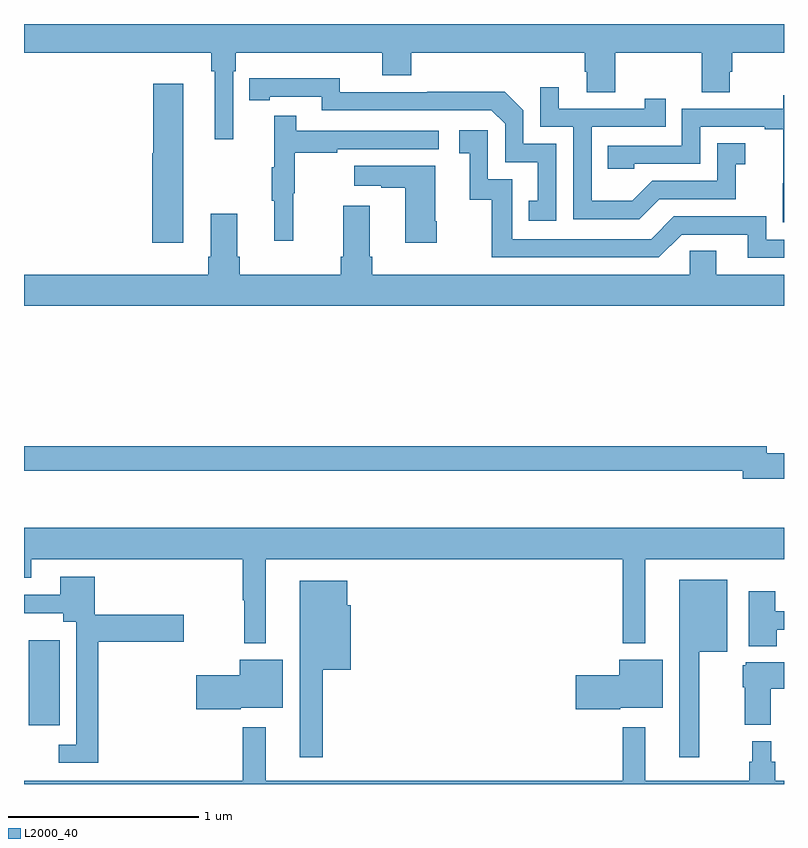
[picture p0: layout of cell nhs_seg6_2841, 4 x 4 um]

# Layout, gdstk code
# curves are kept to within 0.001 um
import gdstk
lib = gdstk.Library(unit=1e-6, precision=1e-09)
def R(c, l, rs):  # rectangles x0, y0, x1, y1
    for r in rs: c.add(gdstk.rectangle(r[:2], r[2:], *l))
def P(c, l, *ps):  # polygons
    for p in ps: c.add(gdstk.Polygon(p, *l))
L2000_40 = (2000, 40)

nhs_seg6_2841 = lib.new_cell('nhs_seg6_2841')
R(nhs_seg6_2841, L2000_40, [(279.026,931.809,279.187,932.257)])
P(nhs_seg6_2841, L2000_40, [(279,935.348),(279.985,935.348),(279.985,935.252),(280.004,935.252),(280.004,934.893),(280.101,934.893),(280.101,935.252),(280.115,935.252),(280.115,935.348),(280.886,935.348),(280.886,935.231),(281.039,935.231),(281.039,935.348),(281.951,935.348),(281.951,935.25),(281.963,935.25),(281.963,935.14),(282.111,935.14),(282.111,935.348),(282.568,935.348),(282.568,935.14),(282.715,935.14),(282.715,935.25),(282.728,935.25),(282.728,935.348),(283,935.348),(283,935.5),(279,935.5)],
  [(281.802,934.869),(281.628,934.869),(281.628,935.046),(281.53,935.144),(281.122,935.144),(281.122,935.142),(280.662,935.142),(280.662,935.215),(280.186,935.214),(280.186,935.098),(280.294,935.098),(280.294,935.118),(280.566,935.118),(280.566,935.046),(281.46,935.046),(281.532,934.974),(281.532,934.773),(281.705,934.773),(281.705,934.569),(281.656,934.569),(281.656,934.464),(281.802,934.464)],
  [(279.838,935.185),(279.68,935.185),(279.68,934.821),(279.674,934.821),(279.674,934.35),(279.838,934.35)],
  [(282.343,934.578),(282.747,934.578),(282.747,934.763),(282.796,934.763),(282.796,934.873),(282.648,934.873),(282.648,934.674),(282.306,934.674),(282.202,934.57),(281.988,934.57),(281.988,934.959),(282.377,934.959),(282.377,935.107),(282.266,935.107),(282.266,935.055),(281.815,935.055),(281.815,935.167),(281.718,935.167),(281.718,934.959),(281.892,934.959),(281.892,934.473),(282.238,934.473)],
  [(283,935.124),(282.996,935.124),(282.996,935.055),(282.462,935.055),(282.462,934.86),(282.073,934.86),(282.073,934.737),(282.213,934.737),(282.213,934.764),(282.558,934.764),(282.558,934.959),(282.899,934.959),(282.899,934.947),(282.995,934.947),(282.995,934.663),(282.994,934.663),(282.994,934.457),(283,934.457)],
  [(280.418,934.608),(280.426,934.608),(280.426,934.822),(280.649,934.822),(280.649,934.842),(281.182,934.842),(281.182,934.938),(280.433,934.938),(280.433,935.017),(280.316,935.017),(280.316,934.745),(280.305,934.745),(280.305,934.571),(280.316,934.571),(280.316,934.359),(280.418,934.359)],
  [(283,934.365),(282.906,934.365),(282.906,934.488),(282.42,934.488),(282.3,934.368),(281.571,934.368),(281.571,934.683),(281.442,934.683),(281.442,934.942),(281.292,934.942),(281.292,934.821),(281.345,934.821),(281.345,934.575),(281.463,934.575),(281.463,934.272),(282.342,934.272),(282.462,934.392),(282.809,934.392),(282.809,934.269),(283,934.269)],
  [(281.172,934.462),(281.164,934.462),(281.164,934.753),(280.737,934.753),(280.737,934.649),(280.88,934.649),(280.88,934.639),(281.006,934.639),(281.006,934.35),(281.172,934.35)],
  [(283,934.18),(282.643,934.18),(282.643,934.307),(282.504,934.307),(282.504,934.18),(280.832,934.18),(280.832,934.276),(280.819,934.276),(280.819,934.543),(280.679,934.543),(280.679,934.276),(280.667,934.276),(280.667,934.18),(280.136,934.18),(280.136,934.276),(280.123,934.276),(280.123,934.501),(279.983,934.501),(279.983,934.276),(279.971,934.276),(279.971,934.18),(279,934.18),(279,934.016),(283,934.016)],
  [(283,933.242),(282.91,933.242),(282.91,933.278),(279,933.278),(279,933.15),(282.782,933.15),(282.782,933.107),(283,933.107)],
  [(280.273,932.684),(282.15,932.684),(282.15,932.24),(282.271,932.24),(282.271,932.684),(283,932.684),(283,932.848),(279,932.848),(279,932.585),(279.037,932.585),(279.037,932.684),(280.152,932.684),(280.152,932.468),(280.159,932.468),(280.159,932.24),(280.273,932.24)],
  [(279.392,932.249),(279.841,932.249),(279.841,932.391),(279.373,932.391),(279.373,932.59),(279.191,932.59),(279.191,932.496),(279,932.496),(279,932.4),(279.206,932.4),(279.206,932.354),(279.276,932.354),(279.276,931.707),(279.183,931.707),(279.183,931.611),(279.392,931.611)],
  [(282.553,932.195),(282.7,932.195),(282.7,932.575),(282.449,932.575),(282.449,931.641),(282.553,931.641)],
  [(280.573,932.102),(280.72,932.102),(280.72,932.442),(280.702,932.442),(280.702,932.569),(280.451,932.569),(280.451,931.641),(280.573,931.641)],
  [(282.963,932.312),(283,932.312),(283,932.409),(282.955,932.409),(282.955,932.515),(282.815,932.515),(282.815,932.225),(282.963,932.225)],
  [(282.138,931.901),(282.361,931.901),(282.361,932.155),(282.134,932.155),(282.134,932.072),(281.904,932.072),(281.904,931.894),(282.138,931.894)],
  [(280.14,931.901),(280.363,931.901),(280.363,932.155),(280.136,932.155),(280.136,932.072),(279.906,932.072),(279.906,931.894),(280.14,931.894)],
  [(282.931,932.002),(283,932.002),(283,932.14),(282.798,932.14),(282.798,932.124),(282.782,932.124),(282.782,932.01),(282.794,932.01),(282.794,931.811),(282.931,931.811)],
  [(283,931.516),(282.953,931.516),(282.953,931.617),(282.933,931.617),(282.933,931.726),(282.832,931.726),(282.832,931.617),(282.817,931.617),(282.817,931.516),(282.271,931.516),(282.271,931.798),(282.15,931.798),(282.15,931.516),(280.273,931.516),(280.273,931.798),(280.152,931.798),(280.152,931.516),(279,931.516),(279,931.5),(283,931.5)])

lib.write_gds('nhs_seg6_2841.gds')
